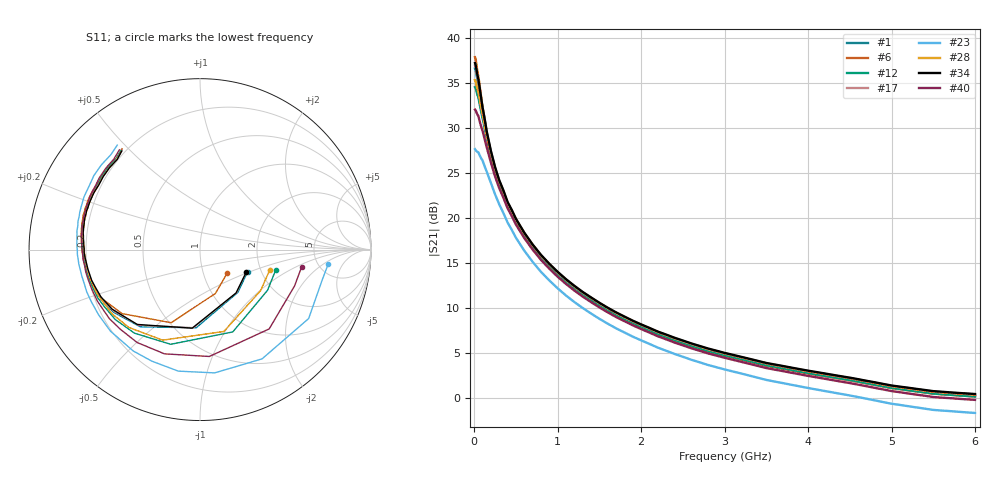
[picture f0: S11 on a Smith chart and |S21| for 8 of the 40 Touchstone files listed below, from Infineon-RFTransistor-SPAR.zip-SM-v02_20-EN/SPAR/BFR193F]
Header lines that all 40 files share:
! Infineon Technologies  Discrete & RF Semiconductors
! BFR193F
! Common Emitter S-Parameters:  Jan 2017
# GHz  S  MA  R  50
!  f  S11  S21  S12  S22
! GHz  MAG  ANG  MAG  ANG  MAG  ANG  MAG  ANG
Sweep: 10 MHz to 6 GHz
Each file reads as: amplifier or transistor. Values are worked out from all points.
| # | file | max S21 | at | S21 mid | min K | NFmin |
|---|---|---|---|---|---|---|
| 1 | BFR193F_w_noise_VCE_6.0V_IC_40mA.s2p | 36.6 dB | 10 MHz | 7.2 dB at 2.2 GHz | 0.13 | 1.34 dB |
| 2 | BFR193F_w_noise_VCE_6.0V_IC_45mA.s2p | 37.0 dB | 10 MHz | 7.2 dB at 2.2 GHz | 0.15 | 1.41 dB |
| 3 | BFR193F_w_noise_VCE_6.0V_IC_48mA.s2p | 37.2 dB | 10 MHz | 7.2 dB at 2.2 GHz | 0.16 | 1.45 dB |
| 4 | BFR193F_w_noise_VCE_6.0V_IC_50mA.s2p | 37.3 dB | 10 MHz | 7.2 dB at 2.2 GHz | 0.17 | 1.48 dB |
| 5 | BFR193F_w_noise_VCE_6.0V_IC_55mA.s2p | 37.6 dB | 10 MHz | 7.2 dB at 2.2 GHz | 0.19 | 1.56 dB |
| 6 | BFR193F_w_noise_VCE_6.0V_IC_60mA.s2p | 37.8 dB | 10 MHz | 7.1 dB at 2.2 GHz | 0.19 | 1.64 dB |
| 7 | BFR193F_w_noise_VCE_7.0V_IC_5.0mA.s2p | 24.2 dB | 10 MHz | 4.3 dB at 2.2 GHz | -0.01 | 0.81 dB |
| 8 | BFR193F_w_noise_VCE_7.0V_IC_8.0mA.s2p | 27.7 dB | 10 MHz | 5.6 dB at 2.2 GHz | 0.03 | 0.84 dB |
| 9 | BFR193F_w_noise_VCE_7.0V_IC_10mA.s2p | 29.2 dB | 10 MHz | 6.0 dB at 2.2 GHz | 0.01 | 0.87 dB |
| 10 | BFR193F_w_noise_VCE_7.0V_IC_16mA.s2p | 32.1 dB | 10 MHz | 6.7 dB at 2.2 GHz | 0.07 | 0.97 dB |
| 11 | BFR193F_w_noise_VCE_7.0V_IC_20mA.s2p | 33.4 dB | 10 MHz | 7.0 dB at 2.2 GHz | 0.07 | 1.04 dB |
| 12 | BFR193F_w_noise_VCE_7.0V_IC_25mA.s2p | 34.5 dB | 10 MHz | 7.2 dB at 2.2 GHz | 0.09 | 1.11 dB |
| 13 | BFR193F_w_noise_VCE_7.0V_IC_30mA.s2p | 35.4 dB | 10 MHz | 7.3 dB at 2.2 GHz | 0.13 | 1.18 dB |
| 14 | BFR193F_w_noise_VCE_7.0V_IC_32mA.s2p | 35.6 dB | 10 MHz | 7.3 dB at 2.2 GHz | 0.14 | 1.21 dB |
| 15 | BFR193F_w_noise_VCE_7.0V_IC_35mA.s2p | 36.0 dB | 10 MHz | 7.3 dB at 2.2 GHz | 0.13 | 1.26 dB |
| 16 | BFR193F_w_noise_VCE_7.0V_IC_40mA.s2p | 36.5 dB | 10 MHz | 7.4 dB at 2.2 GHz | 0.14 | 1.34 dB |
| 17 | BFR193F_w_noise_VCE_7.0V_IC_45mA.s2p | 36.9 dB | 10 MHz | 7.4 dB at 2.2 GHz | 0.15 | 1.41 dB |
| 18 | BFR193F_w_noise_VCE_7.0V_IC_48mA.s2p | 37.1 dB | 10 MHz | 7.3 dB at 2.2 GHz | 0.17 | 1.45 dB |
| 19 | BFR193F_w_noise_VCE_7.0V_IC_50mA.s2p | 37.3 dB | 10 MHz | 7.3 dB at 2.2 GHz | 0.17 | 1.48 dB |
| 20 | BFR193F_w_noise_VCE_7.0V_IC_55mA.s2p | 37.5 dB | 10 MHz | 7.3 dB at 2.2 GHz | 0.18 | 1.56 dB |
| 21 | BFR193F_w_noise_VCE_7.0V_IC_60mA.s2p | 37.8 dB | 10 MHz | 7.2 dB at 2.2 GHz | 0.21 | 1.64 dB |
| 22 | BFR193F_w_noise_VCE_8.0V_IC_5.0mA.s2p | 24.2 dB | 10 MHz | 4.4 dB at 2.2 GHz | 0.02 | 0.81 dB |
| 23 | BFR193F_w_noise_VCE_8.0V_IC_8.0mA.s2p | 27.6 dB | 10 MHz | 5.6 dB at 2.2 GHz | 0.02 | 0.84 dB |
| 24 | BFR193F_w_noise_VCE_8.0V_IC_10mA.s2p | 29.2 dB | 10 MHz | 6.1 dB at 2.2 GHz | 0.01 | 0.87 dB |
| 25 | BFR193F_w_noise_VCE_8.0V_IC_16mA.s2p | 32.1 dB | 10 MHz | 6.8 dB at 2.2 GHz | 0.08 | 0.97 dB |
| 26 | BFR193F_w_noise_VCE_8.0V_IC_20mA.s2p | 33.3 dB | 10 MHz | 7.1 dB at 2.2 GHz | 0.10 | 1.04 dB |
| 27 | BFR193F_w_noise_VCE_8.0V_IC_25mA.s2p | 34.4 dB | 10 MHz | 7.3 dB at 2.2 GHz | 0.08 | 1.11 dB |
| 28 | BFR193F_w_noise_VCE_8.0V_IC_30mA.s2p | 35.3 dB | 10 MHz | 7.4 dB at 2.2 GHz | 0.13 | 1.18 dB |
| 29 | BFR193F_w_noise_VCE_8.0V_IC_32mA.s2p | 35.6 dB | 10 MHz | 7.4 dB at 2.2 GHz | 0.12 | 1.21 dB |
| 30 | BFR193F_w_noise_VCE_8.0V_IC_35mA.s2p | 35.9 dB | 10 MHz | 7.4 dB at 2.2 GHz | 0.14 | 1.26 dB |
| 31 | BFR193F_w_noise_VCE_8.0V_IC_40mA.s2p | 36.5 dB | 10 MHz | 7.5 dB at 2.2 GHz | 0.15 | 1.34 dB |
| 32 | BFR193F_w_noise_VCE_8.0V_IC_45mA.s2p | 36.9 dB | 10 MHz | 7.4 dB at 2.2 GHz | 0.13 | 1.41 dB |
| 33 | BFR193F_w_noise_VCE_8.0V_IC_48mA.s2p | 37.1 dB | 10 MHz | 7.4 dB at 2.2 GHz | 0.17 | 1.45 dB |
| 34 | BFR193F_w_noise_VCE_8.0V_IC_50mA.s2p | 37.2 dB | 10 MHz | 7.4 dB at 2.2 GHz | 0.18 | 1.48 dB |
| 35 | BFR193F_w_noise_VCE_8.0V_IC_55mA.s2p | 37.4 dB | 10 MHz | 7.4 dB at 2.2 GHz | 0.18 | 1.56 dB |
| 36 | BFR193F_w_noise_VCE_8.0V_IC_60mA.s2p | 37.6 dB | 10 MHz | 7.3 dB at 2.2 GHz | 0.18 | 1.64 dB |
| 37 | BFR193F_w_noise_VCE_9.0V_IC_5.0mA.s2p | 24.1 dB | 10 MHz | 4.5 dB at 2.2 GHz | -0.02 | 0.81 dB |
| 38 | BFR193F_w_noise_VCE_9.0V_IC_8.0mA.s2p | 27.6 dB | 10 MHz | 5.7 dB at 2.2 GHz | 0.05 | 0.84 dB |
| 39 | BFR193F_w_noise_VCE_9.0V_IC_10mA.s2p | 29.1 dB | 10 MHz | 6.2 dB at 2.2 GHz | 0.06 | 0.87 dB |
| 40 | BFR193F_w_noise_VCE_9.0V_IC_16mA.s2p | 32.0 dB | 10 MHz | 6.9 dB at 2.2 GHz | 0.08 | 0.97 dB |

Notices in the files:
Hoja de datos/BFP 450/Infineon-RFTransistor-SPAR.zip-SM-v02_20-EN/SPAR/BFR193F/BFR193F_w_noise_VCE_6.0V_IC_40mA.s2p:
(c) 2017  Infineon Technologies AG, Munich
